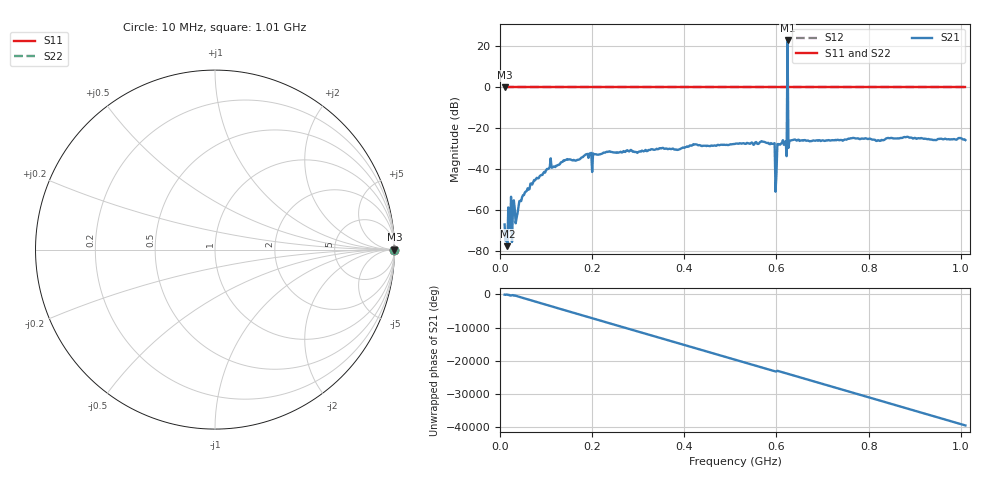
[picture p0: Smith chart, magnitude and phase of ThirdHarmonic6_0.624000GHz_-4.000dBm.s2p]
! 8/15/2025 8:31:54 PM
! C:\ANRITSUVNA\TEMP\TEMP.S2P
! CHANNEL.1
! TR.MEASUREMENT
! RAW.DATA
! RF.CORRECTION.OFF
! AVERAGING.OFF
! IF.BANDWIDTH: 5KHZ
! SWEEPTYPE:  FREQ.SWEEP(Linear)
! Reference Plane Port Info
! PORT:  PORT1  PORT2
! DISTANCE:  0  m  0  m
! TIME:  0  s  0  s
! PHASE.OFFSET:  0  deg.  0  deg.
! LOSS:  0  dB  0  dB
! REF.LOSS:  0  dB  0  dB
! REF.FREQ:  0  Hz  0  Hz
! Power Info
! POWER:  -20  dBm  -20  dBm
! EFF.POWER:  -20  dBm  -20  dBm
! SOURCE.ATTEN:  0  dB  0  dB
! TEST.ATTEN:  0  dB  0  dB
# GHZ S RI R 50.0
! FREQ.GHZ  S11RE  S11IM  S21RE  S21IM  S12RE  S12IM  S22RE  S22IM
!; PortSelection: Port_12
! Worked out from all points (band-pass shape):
!   501 points, 10 MHz to 1.01 GHz, reference 50 ohm
!   highest |S21| = 22.94 dB at 624 MHz (marker M1); lowest = -77.8 dB at 16 MHz (marker M2)
!   |S21| within 3 dB of the highest: 623.8941 MHz to 624.114 MHz (219.9 kHz wide, 0.0352 % of centre)
!   lowest |S11| = 0.0 dB at 10 MHz (marker M3)
!   |S11| at or under -10 dB: nowhere
!   |S22| runs from 0.0 to 0.0 dB; largest |S21 - S12| = 14
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0.01  1 0  -5.19e-05 -0.000437  1 0  1 0
0.012  1 0  -0.00017 -4.95e-05  1 0  1 0
0.016  1 0  2.5e-06 -0.000129  1 0  1 0
0.02  1 0  -0.000874 2.6e-05  1 0  1 0
0.036  1 0  -0.000517 -0.000374  1 0  1 0
0.052  1 0  -0.000187 -0.0023  1 0  1 0
0.106  1 0  -0.00749 -0.00703  1 0  1 0
0.178  1 0  -0.0189 -0.00403  1 0  1 0
0.344  1 0  0.0297 -0.00814  1 0  1 0
0.51  1 0  -0.0372 0.0177  1 0  1 0
0.592  1 0  -0.00462 0.0411  1 0  1 0
0.596  1 0  0.0167 -0.0395  1 0  1 0
0.602  1 0  0.0215 0.0346  1 0  1 0
0.606  1 0  -0.00824 -0.0391  1 0  1 0
0.618  1 0  -0.0344 0.0283  1 0  1 0
0.62  1 0  0.0242 0.0417  1 0  1 0
0.624  1 0  1.973 -13.89  1 0  1 0
0.628  1 0  -0.00294 0.048  1 0  1 0
0.63  1 0  0.0479 0.0114  1 0  1 0
0.678  1 0  -0.0275 -0.041  1 0  1 0
0.844  1 0  0.0464 0.0331  1 0  1 0
1.01  1 0  -0.051 -0.00332  1 0  1 0
